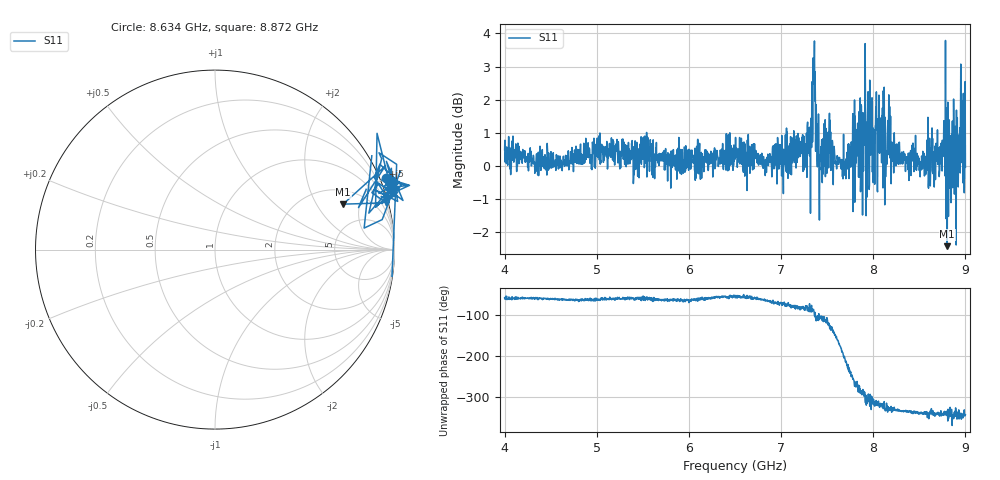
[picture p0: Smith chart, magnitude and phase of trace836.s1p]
! Created with skrf 1.8.0 (http://scikit-rf.org).
# Hz S RI R 50.0
!freq ReS11 ImS11
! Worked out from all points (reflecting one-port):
!   1601 points, 4 GHz to 9 GHz, reference 50 ohm
!   lowest |S11| = -2.4 dB at 8.803 GHz (marker M1), VSWR 7.24, Z = 146 + j173 ohm
!   phase of S11 starts at -58 deg and turns -285 deg over the sweep
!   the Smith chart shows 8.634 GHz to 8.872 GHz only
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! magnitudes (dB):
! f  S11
! 4 GHz  0.5
! 4.625 GHz  -0.1
! 5.25 GHz  -0.1
! 5.875 GHz  0.2
! 6.5 GHz  0.3
! 6.819 GHz  0.1
! 7.125 GHz  0.2
! 7.294 GHz  1.0
! 7.359 GHz  3.0
! 7.4 GHz  0.2
! 7.438 GHz  0.5
! 7.512 GHz  1.0
! 7.65 GHz  -0.1
! 7.75 GHz  0.3
! 7.791 GHz  0.3
! 7.891 GHz  1.0
! 7.944 GHz  2.2
! 7.962 GHz  2.6
! 7.981 GHz  0.6
! 8.097 GHz  0.5
! 8.216 GHz  0.7
! 8.375 GHz  0.2
! 8.697 GHz  1.1
! 8.759 GHz  0.5
! 8.803 GHz  -2.4
! 8.919 GHz  0.1
! 8.956 GHz  0.4
! 9 GHz  0.0
